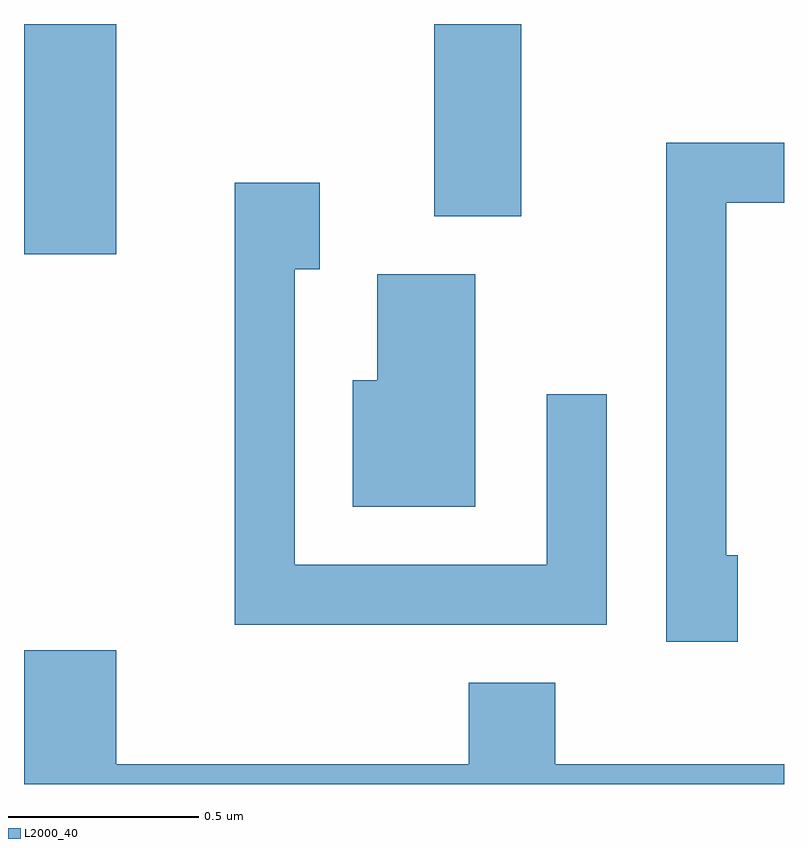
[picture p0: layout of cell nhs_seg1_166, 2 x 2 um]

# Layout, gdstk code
import gdstk
lib = gdstk.Library(unit=1e-6, precision=1e-09)
def R(c, l, rs):  # rectangles x0, y0, x1, y1
    for r in rs: c.add(gdstk.rectangle(r[:2], r[2:], *l))
def P(c, l, *ps):  # polygons
    for p in ps: c.add(gdstk.Polygon(p, *l))
L2000_40 = (2000, 40)

nhs_seg1_166 = lib.new_cell('nhs_seg1_166')
R(nhs_seg1_166, L2000_40, [(186.611,870.106,186.854,870.712), (187.691,870.206,187.919,870.712)])
P(nhs_seg1_166, L2000_40, [(188.489,869.314),(188.459,869.314),(188.459,870.241),(188.611,870.241),(188.611,870.399),(188.301,870.399),(188.301,869.086),(188.489,869.086)],
  [(188.144,869.738),(187.986,869.738),(187.986,869.289),(187.324,869.289),(187.324,870.066),(187.389,870.066),(187.389,870.294),(187.166,870.294),(187.166,869.131),(188.144,869.131)],
  [(187.799,870.054),(187.541,870.054),(187.541,869.774),(187.476,869.774),(187.476,869.441),(187.799,869.441)],
  [(188.611,868.764),(188.009,868.764),(188.009,868.979),(187.781,868.979),(187.781,868.764),(186.854,868.764),(186.854,869.064),(186.611,869.064),(186.611,868.712),(188.611,868.712)])

lib.write_gds('nhs_seg1_166.gds')
